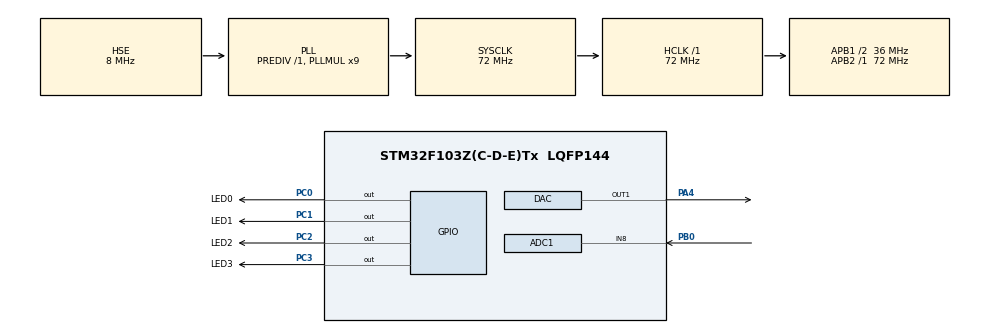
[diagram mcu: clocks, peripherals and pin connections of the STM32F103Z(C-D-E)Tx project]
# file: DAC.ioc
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ADC1.Channel-6\#ChannelRegularConversion=ADC_CHANNEL_8
ADC1.NbrOfConversionFlag=1
ADC1.Rank-6\#ChannelRegularConversion=1
ADC1.SamplingTime-6\#ChannelRegularConversion=ADC_SAMPLETIME_1CYCLE_5
ADC1.master=1
Mcu.Family=STM32F1
Mcu.Name=STM32F103Z(C-D-E)Tx
Mcu.Package=LQFP144
NVIC.ADC1_2_IRQn=true\:0\:0\:false\:false\:true\:true\:true
NVIC.PriorityGroup=NVIC_PRIORITYGROUP_4
NVIC.TIM2_IRQn=true\:0\:0\:false\:false\:true\:true\:true
OSC_IN.Mode=HSE-External-Oscillator
OSC_IN.Signal=RCC_OSC_IN
OSC_OUT.Mode=HSE-External-Oscillator
OSC_OUT.Signal=RCC_OSC_OUT
PA13.Mode=Serial_Wire
PA13.Signal=SYS_JTMS-SWDIO
PA14.Mode=Serial_Wire
PA14.Signal=SYS_JTCK-SWCLK
PA4.Signal=COMP_DAC1_group
PB0.Signal=ADCx_IN8
PC0.GPIO_Label=LED0
PC0.GPIO_ModeDefaultOutputPP=GPIO_MODE_OUTPUT_PP
PC0.GPIO_PuPd=GPIO_NOPULL
PC0.GPIO_Speed=GPIO_SPEED_FREQ_LOW
PC0.PinState=GPIO_PIN_SET
PC0.Signal=GPIO_Output
PC1.GPIO_Label=LED1
PC1.GPIO_ModeDefaultOutputPP=GPIO_MODE_OUTPUT_PP
PC1.GPIO_PuPd=GPIO_NOPULL
PC1.GPIO_Speed=GPIO_SPEED_FREQ_LOW
PC1.PinState=GPIO_PIN_SET
PC1.Signal=GPIO_Output
PC2.GPIO_Label=LED2
PC2.GPIO_ModeDefaultOutputPP=GPIO_MODE_OUTPUT_PP
PC2.GPIO_PuPd=GPIO_NOPULL
PC2.GPIO_Speed=GPIO_SPEED_FREQ_LOW
PC2.PinState=GPIO_PIN_SET
PC2.Signal=GPIO_Output
PC3.GPIO_Label=LED3
PC3.GPIO_ModeDefaultOutputPP=GPIO_MODE_OUTPUT_PP
PC3.GPIO_PuPd=GPIO_NOPULL
PC3.GPIO_Speed=GPIO_SPEED_FREQ_LOW
PC3.PinState=GPIO_PIN_SET
PC3.Signal=GPIO_Output
ProjectManager.HeapSize=0x200
ProjectManager.StackSize=0x400
ProjectManager.TargetToolchain=MDK-ARM V5.27
RCC.ADCPresc=RCC_ADCPCLK2_DIV6
RCC.AHBFreq_Value=72000000
RCC.APB1CLKDivider=RCC_HCLK_DIV2
RCC.APB1Freq_Value=36000000
RCC.APB1TimFreq_Value=72000000
RCC.APB2Freq_Value=72000000
RCC.APB2TimFreq_Value=72000000
RCC.HCLKFreq_Value=72000000
RCC.PLLMUL=RCC_PLL_MUL9
RCC.PLLSourceVirtual=RCC_PLLSOURCE_HSE
RCC.SYSCLKFreq_VALUE=72000000
RCC.SYSCLKSource=RCC_SYSCLKSOURCE_PLLCLK
RCC.USBFreq_Value=48000000
RCC.USBPrescaler=RCC_USBCLKSOURCE_PLL_DIV1_5
SH.ADCx_IN8.0=ADC1_IN8,IN8
SH.COMP_DAC1_group.0=DAC_OUT1,DAC_OUT1
TIM2.Period=1000-1
TIM2.Prescaler=72-1
VP_TIM2_VS_ClockSourceINT.Mode=Internal
board=custom

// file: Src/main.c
/* USER CODE BEGIN Header */
/**
  ******************************************************************************
  * @file           : main.c
  * @brief          : Main program body
  ******************************************************************************
  * @attention
  *
  * <h2><center>&copy; Copyright (c) 2020 STMicroelectronics.
  * All rights reserved.</center></h2>
  *
  * This software component is licensed by ST under BSD 3-Clause license,
  * the "License"; You may not use this file except in compliance with the
  * License. You may obtain a copy of the License at:
  *                        opensource.org/licenses/BSD-3-Clause
  *
  ******************************************************************************
  */
/* USER CODE END Header */

#include "main.h"
#include "adc.h"
#include "dac.h"
#include "tim.h"
#include "gpio.h"

/* USER CODE BEGIN Includes */
#include <stdio.h>
/* USER CODE END Includes */

/* USER CODE BEGIN PV */
float dac_counter = 0.0f;
/* USER CODE END PV */

void SystemClock_Config(void);

/* USER CODE BEGIN 0 */
int fputc(int ch, FILE *f)
{
	return ITM_SendChar(ch);
}
/* USER CODE END 0 */

int main(void)
{

  /* MCU Configuration--------------------------------------------------------*/

  /* Reset of all peripherals, Initializes the Flash interface and the Systick. */
  HAL_Init();

  /* Configure the system clock */
  SystemClock_Config();

  /* Initialize all configured peripherals */
  MX_GPIO_Init();
  MX_DAC_Init();
  MX_ADC1_Init();
  MX_TIM2_Init();
  /* USER CODE BEGIN 2 */
	HAL_TIM_Base_Start_IT(&htim2);
	HAL_DAC_Start(&hdac, DAC_CHANNEL_1);
  /* USER CODE END 2 */

  /* Infinite loop */
  while (1)
  {

    /* USER CODE BEGIN 3 */
		HAL_DAC_SetValue(&hdac, DAC_CHANNEL_1, DAC_ALIGN_12B_R, dac_counter/330.0*4096);
		HAL_ADC_Start(&hadc1);
		HAL_ADC_PollForConversion(&hadc1, 10);
		printf("\n\radc:%.2f", HAL_ADC_GetValue(&hadc1)/4096.0*3.3);
  }
  /* USER CODE END 3 */
}

void SystemClock_Config(void)
{
  RCC_OscInitTypeDef RCC_OscInitStruct = {0};
  RCC_ClkInitTypeDef RCC_ClkInitStruct = {0};
  RCC_PeriphCLKInitTypeDef PeriphClkInit = {0};

  /** Initializes the CPU, AHB and APB busses clocks
  */
  RCC_OscInitStruct.OscillatorType = RCC_OSCILLATORTYPE_HSE;
  RCC_OscInitStruct.HSEState = RCC_HSE_ON;
  RCC_OscInitStruct.HSEPredivValue = RCC_HSE_PREDIV_DIV1;
  RCC_OscInitStruct.HSIState = RCC_HSI_ON;
  RCC_OscInitStruct.PLL.PLLState = RCC_PLL_ON;
  RCC_OscInitStruct.PLL.PLLSource = RCC_PLLSOURCE_HSE;
  RCC_OscInitStruct.PLL.PLLMUL = RCC_PLL_MUL9;
  if (HAL_RCC_OscConfig(&RCC_OscInitStruct) != HAL_OK)
  {
    Error_Handler();
  }
  /** Initializes the CPU, AHB and APB busses clocks
  */
  RCC_ClkInitStruct.ClockType = RCC_CLOCKTYPE_HCLK|RCC_CLOCKTYPE_SYSCLK
                              |RCC_CLOCKTYPE_PCLK1|RCC_CLOCKTYPE_PCLK2;
  RCC_ClkInitStruct.SYSCLKSource = RCC_SYSCLKSOURCE_PLLCLK;
  RCC_ClkInitStruct.AHBCLKDivider = RCC_SYSCLK_DIV1;
  RCC_ClkInitStruct.APB1CLKDivider = RCC_HCLK_DIV2;
  RCC_ClkInitStruct.APB2CLKDivider = RCC_HCLK_DIV1;

  if (HAL_RCC_ClockConfig(&RCC_ClkInitStruct, FLASH_LATENCY_2) != HAL_OK)
  {
    Error_Handler();
  }
  PeriphClkInit.PeriphClockSelection = RCC_PERIPHCLK_ADC;
  PeriphClkInit.AdcClockSelection = RCC_ADCPCLK2_DIV6;
  if (HAL_RCCEx_PeriphCLKConfig(&PeriphClkInit) != HAL_OK)
  {
    Error_Handler();
  }
}

/* USER CODE BEGIN 4 */

void HAL_TIM_PeriodElapsedCallback(TIM_HandleTypeDef *htim)
{
	if(htim->Instance == htim2.Instance)
	{
		static uint16_t i=0;

		if(++i == 200)
		{
			i=0;
			if(++dac_counter == 330.0f) dac_counter = 0.0f;
		}
	}
}
/* USER CODE END 4 */

void Error_Handler(void)
{
}

/************************ (C) COPYRIGHT STMicroelectronics *****END OF FILE****/
